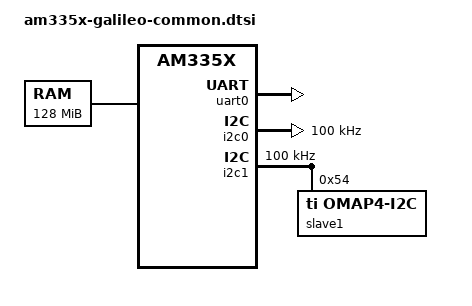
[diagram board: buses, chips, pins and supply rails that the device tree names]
/*
 * Copyright (C) 2012 Texas Instruments Incorporated - http://www.ti.com/
 *
 * This program is free software; you can redistribute it and/or modify
 * it under the terms of the GNU General Public License version 2 as
 * published by the Free Software Foundation.
 */

/ {
	cpus {
		cpu@0 {
		};
	};

	chosen {
		stdout-path = &uart0;
		tick-timer = &timer2;
	};

	memory {
		device_type = "memory";
		reg = <0x80000000 0x8000000>; /* 128 MB */
	};
};

&uart0 {
	pinctrl-names = "default";
	pinctrl-0 = <&uart0_pins>;

	status = "okay";
};

&i2c0 {
 	status = "okay";
 	pinctrl-names = "default", "sleep";
	//pinctrl-0 = <&i2c1_pins>;
  	//pinctrl-0 = <&i2c1_pins_default>;
 	//pinctrl-1 = <&i2c1_pins_sleep>;
 	clock-frequency = <100000>;
};

&i2c1 {
 	status = "okay";
 	pinctrl-names = "default", "sleep";
 	clock-frequency = <100000>;
	
	slave1: slave@54 {
		compatible = "ti,omap4-i2c";
		reg = <0x54>;
	};
};

&am33xx_pinmux {
	pinctrl-names = "default";
	//pinctrl-0 = <&clkout2_pin>;

	i2c1_pins: pinmux_i2c1_pins {
		pinctrl-single,pins = <
			0x958 0x73	/* change to uart1_ctsn.i2c1_sda ?*/
			0x95C 0x73	/* change to uart1_rtsn.i2c1_scl ?*/
		>;
	};
	//0x980 (PIN_INPUT_PULLUP | MUX_MODE3)	/* change to uart1_ctsn.i2c1_sda ?*/
	//0x984 (PIN_INPUT_PULLUP | MUX_MODE3)	/* change to uart1_rtsn.i2c1_scl ?*/
	//0x180 0x73	/* change to uart1_ctsn.i2c1_sda ?*/
	//0x184 0x73	/* change to uart1_rtsn.i2c1_scl ?*/

	uart0_pins: pinmux_uart0_pins {
		pinctrl-single,pins = <
			0x170 (PIN_INPUT_PULLUP | MUX_MODE0)	/* uart0_rxd.uart0_rxd */
			0x174 (PIN_OUTPUT_PULLDOWN | MUX_MODE0)	/* uart0_txd.uart0_txd */
		>;
	};
};

